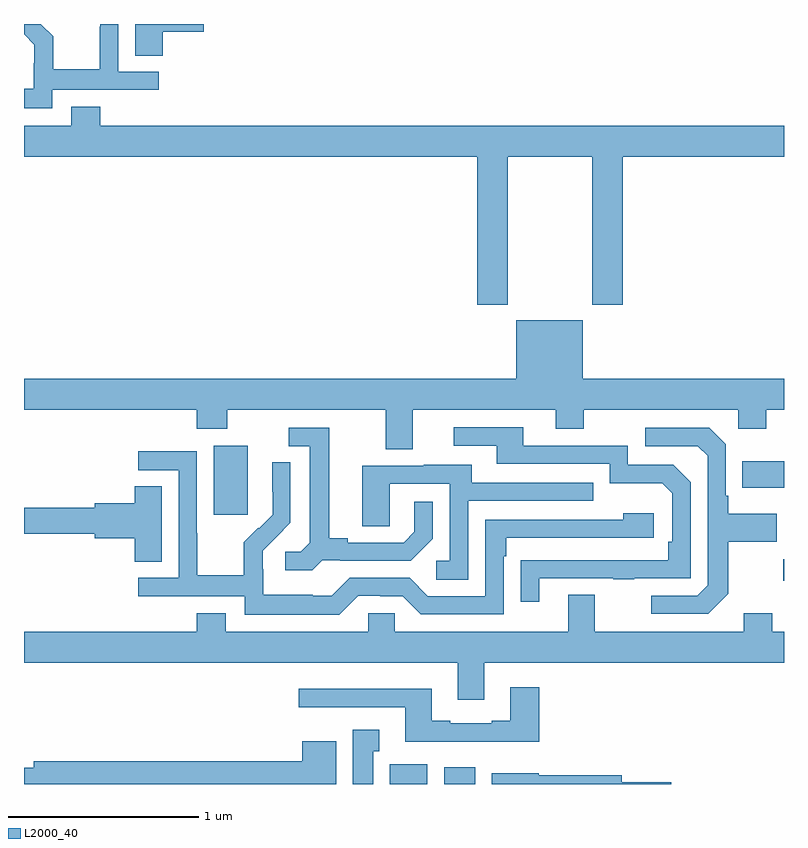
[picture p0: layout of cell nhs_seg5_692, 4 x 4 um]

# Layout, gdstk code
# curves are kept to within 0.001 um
import gdstk
lib = gdstk.Library(unit=1e-6, precision=1e-09)
def R(c, l, rs):  # rectangles x0, y0, x1, y1
    for r in rs: c.add(gdstk.rectangle(r[:2], r[2:], *l))
def P(c, l, *ps):  # polygons
    for p in ps: c.add(gdstk.Polygon(p, *l))
L2000_40 = (2000, 40)

nhs_seg5_692 = lib.new_cell('nhs_seg5_692')
R(nhs_seg5_692, L2000_40, [(156.926,846.799,157.123,846.904), (157.211,846.799,157.375,846.886), (158.997,847.869,159,847.982), (155.999,848.217,156.178,848.578), (158.779,848.357,159,848.497)])
P(nhs_seg5_692, L2000_40, [(155.729,850.757),(155.947,850.757),(155.947,850.799),(155.585,850.799),(155.585,850.633),(155.729,850.633)],
  [(155.148,850.452),(155.71,850.452),(155.71,850.548),(155.496,850.548),(155.496,850.799),(155.4,850.799),(155.4,850.784),(155.398,850.784),(155.398,850.561),(155.153,850.561),(155.153,850.735),(155.089,850.799),(155,850.799),(155,850.744),(155.054,850.69),(155.054,850.593),(155.052,850.593),(155.052,850.459),(155,850.459),(155,850.355),(155.148,850.355)],
  [(157.545,850.1),(157.99,850.1),(157.99,849.321),(158.15,849.321),(158.15,850.1),(159,850.1),(159,850.264),(155.402,850.264),(155.402,850.363),(155.249,850.363),(155.249,850.264),(155,850.264),(155,850.1),(157.385,850.1),(157.385,849.321),(157.545,849.321)],
  [(157.045,848.768),(157.799,848.768),(157.799,848.669),(157.947,848.669),(157.947,848.768),(158.76,848.768),(158.76,848.669),(158.907,848.669),(158.907,848.768),(159,848.768),(159,848.932),(157.942,848.932),(157.942,849.241),(157.592,849.241),(157.592,848.932),(155,848.932),(155,848.768),(155.909,848.768),(155.909,848.669),(156.069,848.669),(156.069,848.768),(156.905,848.768),(156.905,848.56),(157.045,848.56)],
  [(157.711,847.881),(158.101,847.881),(158.101,847.876),(158.213,847.876),(158.213,847.881),(158.508,847.881),(158.508,848.388),(158.418,848.478),(158.178,848.478),(158.178,848.58),(157.627,848.58),(157.627,848.676),(157.263,848.676),(157.263,848.58),(157.487,848.58),(157.487,848.484),(158.082,848.484),(158.082,848.381),(158.359,848.381),(158.412,848.328),(158.412,848.074),(158.392,848.074),(158.392,847.977),(157.615,847.976),(157.615,847.758),(157.711,847.758)],
  [(158.707,847.801),(158.707,848.074),(158.963,848.074),(158.963,848.221),(158.707,848.221),(158.707,848.317),(158.694,848.317),(158.694,848.586),(158.607,848.673),(158.271,848.673),(158.271,848.577),(158.547,848.577),(158.598,848.526),(158.598,847.845),(158.544,847.791),(158.301,847.791),(158.301,847.695),(158.601,847.695)],
  [(156.57,847.977),(156.664,847.977),(156.664,847.974),(157.036,847.974),(157.152,848.09),(157.152,848.284),(157.055,848.284),(157.055,848.127),(156.998,848.07),(156.703,848.07),(156.703,848.093),(156.607,848.093),(156.607,848.673),(156.393,848.673),(156.393,848.577),(156.503,848.577),(156.503,848.069),(156.456,848.022),(156.375,848.022),(156.375,847.925),(156.518,847.925)],
  [(156.759,847.791),(156.875,847.791),(156.875,847.788),(156.993,847.788),(157.089,847.692),(157.524,847.692),(157.524,847.997),(157.537,847.997),(157.537,848.094),(158.314,848.094),(158.314,848.224),(158.153,848.224),(158.153,848.19),(157.428,848.19),(157.428,847.788),(157.125,847.788),(157.029,847.884),(156.714,847.884),(156.621,847.791),(156.521,847.791),(156.521,847.795),(156.258,847.795),(156.258,847.929),(156.256,847.929),(156.256,848.026),(156.402,848.174),(156.402,848.492),(156.306,848.492),(156.306,848.338),(156.308,848.338),(156.308,848.216),(156.237,848.145),(156.234,848.148),(156.157,848.071),(156.157,847.897),(155.913,847.897),(155.913,848.12),(155.91,848.12),(155.91,848.55),(155.601,848.55),(155.601,848.451),(155.814,848.451),(155.814,847.884),(155.601,847.884),(155.601,847.788),(156.162,847.788),(156.162,847.691),(156.659,847.691)],
  [(157.338,848.289),(157.997,848.289),(157.997,848.385),(157.357,848.385),(157.357,848.479),(157.103,848.479),(157.103,848.475),(156.779,848.475),(156.779,848.155),(156.924,848.155),(156.924,848.379),(157.242,848.379),(157.242,847.974),(157.17,847.974),(157.17,847.873),(157.338,847.873)],
  [(155.725,848.366),(155.582,848.366),(155.582,848.276),(155.372,848.276),(155.372,848.252),(155,848.252),(155,848.116),(155.372,848.116),(155.372,848.093),(155.582,848.093),(155.582,847.969),(155.725,847.969)],
  [(157.423,847.436),(159,847.436),(159,847.6),(158.937,847.6),(158.937,847.699),(158.789,847.699),(158.789,847.6),(158.005,847.6),(158.005,847.795),(157.865,847.795),(157.865,847.6),(156.951,847.6),(156.951,847.698),(156.813,847.698),(156.813,847.6),(156.061,847.6),(156.061,847.699),(155.909,847.699),(155.909,847.6),(155,847.6),(155,847.436),(157.283,847.436),(157.283,847.242),(157.423,847.242)],
  [(157.712,847.309),(157.559,847.309),(157.559,847.132),(157.463,847.132),(157.463,847.119),(157.243,847.119),(157.243,847.132),(157.147,847.132),(157.147,847.3),(156.447,847.3),(156.447,847.203),(157.007,847.203),(157.007,847.022),(157.712,847.022)],
  [(156.838,846.971),(156.871,846.971),(156.871,847.084),(156.731,847.084),(156.731,846.799),(156.838,846.799)],
  [(156.643,847.024),(156.464,847.024),(156.464,846.92),(155.051,846.92),(155.051,846.884),(155,846.884),(155,846.799),(156.643,846.799)],
  [(158.407,846.809),(158.146,846.809),(158.146,846.845),(157.71,846.845),(157.71,846.856),(157.463,846.856),(157.463,846.799),(158.407,846.799)])

lib.write_gds('nhs_seg5_692.gds')
